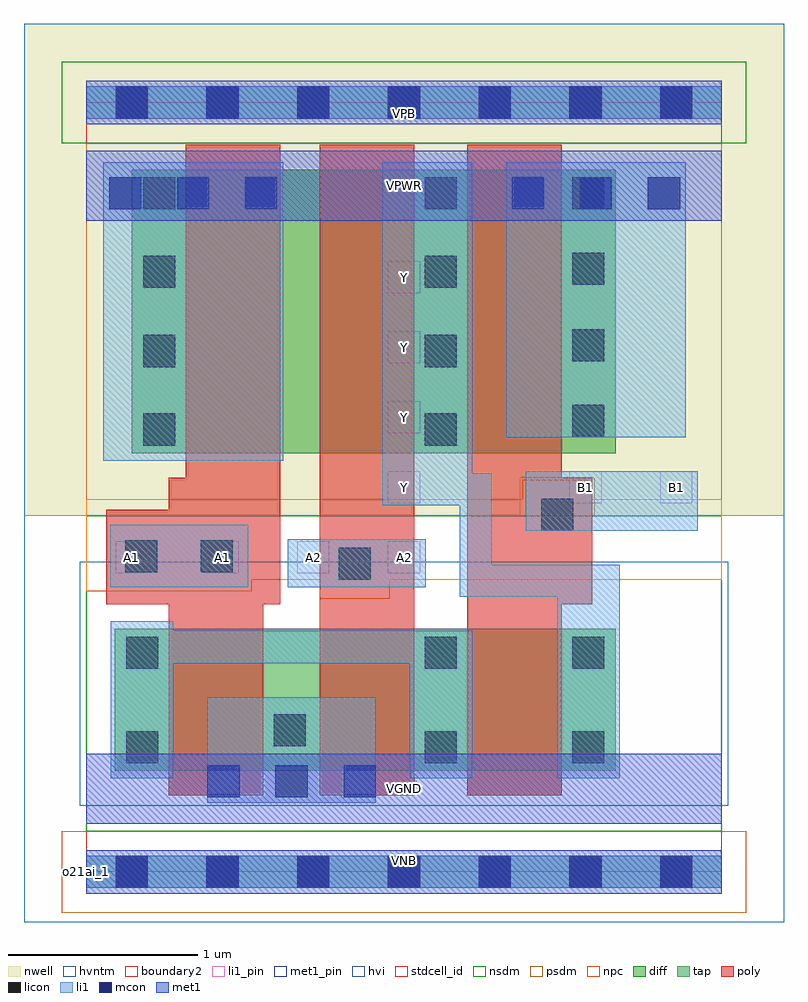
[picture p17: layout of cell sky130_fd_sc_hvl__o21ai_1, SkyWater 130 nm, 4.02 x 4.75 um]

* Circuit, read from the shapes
.subckt sky130_fd_sc_hvl__o21ai_1 A1 A2 B1 VGND VNB VPB VPWR Y
XM1 VGND A1 n1 VNB sky130_fd_pr__nfet_g5v0d10v5 w=0.75 l=0.5
XM2 n1 A2 VGND VNB sky130_fd_pr__nfet_g5v0d10v5 w=0.75 l=0.5
XM3 Y B1 n1 VNB sky130_fd_pr__nfet_g5v0d10v5 w=0.75 l=0.5
XM4 n2 A1 VPWR VPB sky130_fd_pr__pfet_g5v0d10v5 w=1.5 l=0.5
XM5 Y A2 n2 VPB sky130_fd_pr__pfet_g5v0d10v5 w=1.5 l=0.5
XM6 VPWR B1 Y VPB sky130_fd_pr__pfet_g5v0d10v5 w=1.5 l=0.5
.ends

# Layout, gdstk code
import gdstk
lib = gdstk.Library(unit=1e-6, precision=1e-09)
def R(c, l, rs):  # rectangles x0, y0, x1, y1
    for r in rs: c.add(gdstk.rectangle(r[:2], r[2:], *l))
def A(c, l, x, y, w, h, nx, ny, dx, dy):  # array of equal rectangles
    R(c, l, [(x+i*dx, y+j*dy, x+i*dx+w, y+j*dy+h) for i in range(nx) for j in range(ny)])
def P(c, l, *ps):  # polygons
    for p in ps: c.add(gdstk.Polygon(p, *l))
nwell = (64, 20)
diff = (65, 20)
tap = (65, 44)
poly = (66, 20)
licon = (66, 44)
li1_pin = (67, 16)
li1 = (67, 20)
mcon = (67, 44)
met1_pin = (68, 16)
met1 = (68, 20)
hvi = (75, 20)
stdcell_id = (81, 4)
nsdm = (93, 44)
psdm = (94, 20)
npc = (95, 20)
hvntm = (125, 20)
boundary2 = (236, 0)

sky130_fd_sc_hvl__o21ai_ = lib.new_cell('sky130_fd_sc_hvl__o21ai_1')
R(sky130_fd_sc_hvl__o21ai_, nwell, [(-0.33,1.885,3.69,4.485)])
R(sky130_fd_sc_hvl__o21ai_, diff, [(0.15,0.535,2.8,1.285), (0.24,2.215,2.8,3.715)])
R(sky130_fd_sc_hvl__o21ai_, tap, [(0,-0.085,3.36,0.085), (0,3.985,3.36,4.155)])
R(sky130_fd_sc_hvl__o21ai_, poly, [(1.235,0.405,1.735,3.845)])
P(sky130_fd_sc_hvl__o21ai_, poly, [(1.025,3.845),(0.525,3.845),(0.525,2.085),(0.435,2.085),(0.435,1.915),(0.105,1.915),(0.105,1.415),(0.435,1.415),(0.435,0.405),(0.935,0.405),(0.935,1.415),(1.025,1.415)],
  [(2.675,2.085),(2.515,2.085),(2.515,3.845),(2.015,3.845),(2.015,0.405),(2.515,0.405),(2.515,1.415),(2.675,1.415)])
A(sky130_fd_sc_hvl__o21ai_, licon, 0.155, -0.085, 0.17, 0.17, 7, 2, 0.48, 4.07)
R(sky130_fd_sc_hvl__o21ai_, licon, [(0.21,0.575,0.38,0.745), (1.79,0.575,1.96,0.745), (2.57,0.575,2.74,0.745), (0.99,0.665,1.16,0.835), (0.21,1.075,0.38,1.245), (1.79,1.075,1.96,1.245), (2.57,1.075,2.74,1.245), (1.335,1.545,1.505,1.715), (0.205,1.585,0.375,1.755), (0.605,1.585,0.775,1.755), (2.405,1.805,2.575,1.975), (0.3,2.255,0.47,2.425), (1.79,2.255,1.96,2.425), (2.57,2.3,2.74,2.47), (0.3,2.67,0.47,2.84), (1.79,2.67,1.96,2.84), (2.57,2.7,2.74,2.87), (0.3,3.09,0.47,3.26), (1.79,3.09,1.96,3.26), (2.57,3.105,2.74,3.275), (0.3,3.505,0.47,3.675), (1.79,3.505,1.96,3.675), (2.57,3.505,2.74,3.675)])
A(sky130_fd_sc_hvl__o21ai_, li1_pin, 0.155, 1.58, 0.17, 0.17, 4, 1, 0.48, 0)
A(sky130_fd_sc_hvl__o21ai_, li1_pin, 1.595, 1.95, 0.17, 0.17, 1, 4, 0, 0.37)
R(sky130_fd_sc_hvl__o21ai_, li1_pin, [(2.555,1.95,2.725,2.12), (3.035,1.95,3.205,2.12)])
R(sky130_fd_sc_hvl__o21ai_, li1, [(0,-0.085,3.36,0.085), (0.64,0.365,1.53,0.925), (0.125,1.505,0.855,1.835), (1.065,1.505,1.795,1.76), (2.325,1.805,3.235,2.12), (0.09,2.175,1.04,3.755), (2.22,2.3,3.17,3.755), (0,3.985,3.36,4.155)])
P(sky130_fd_sc_hvl__o21ai_, li1, [(2.04,1.275),(0.46,1.275),(0.46,1.325),(0.13,1.325),(0.13,0.495),(0.46,0.495),(0.46,1.105),(1.71,1.105),(1.71,0.495),(2.04,0.495)],
  [(2.82,1.625),(2.145,1.625),(2.145,2.11),(2.04,2.11),(2.04,3.755),(1.565,3.755),(1.565,1.94),(1.975,1.94),(1.975,1.455),(2.49,1.455),(2.49,0.495),(2.82,0.495)])
A(sky130_fd_sc_hvl__o21ai_, mcon, 0.64, 0.395, 0.17, 0.17, 3, 1, 0.36, 0)
A(sky130_fd_sc_hvl__o21ai_, mcon, 0.12, 3.505, 0.17, 0.17, 3, 1, 0.36, 0)
A(sky130_fd_sc_hvl__o21ai_, mcon, 2.25, 3.505, 0.17, 0.17, 3, 1, 0.36, 0)
R(sky130_fd_sc_hvl__o21ai_, mcon, [(0.155,-0.085,0.325,0.085), (0.155,-0.085,0.325,0.085), (0.635,-0.085,0.805,0.085), (0.635,-0.085,0.805,0.085), (1.115,-0.085,1.285,0.085), (1.115,-0.085,1.285,0.085), (1.595,-0.085,1.765,0.085), (1.595,-0.085,1.765,0.085), (2.075,-0.085,2.245,0.085), (2.075,-0.085,2.245,0.085), (2.555,-0.085,2.725,0.085), (2.555,-0.085,2.725,0.085), (3.035,-0.085,3.205,0.085), (3.035,-0.085,3.205,0.085), (0.155,3.985,0.325,4.155), (0.155,3.985,0.325,4.155), (0.635,3.985,0.805,4.155), (0.635,3.985,0.805,4.155), (1.115,3.985,1.285,4.155), (1.115,3.985,1.285,4.155), (1.595,3.985,1.765,4.155), (1.595,3.985,1.765,4.155), (2.075,3.985,2.245,4.155), (2.075,3.985,2.245,4.155), (2.555,3.985,2.725,4.155), (2.555,3.985,2.725,4.155), (3.035,3.985,3.205,4.155), (3.035,3.985,3.205,4.155)])
R(sky130_fd_sc_hvl__o21ai_, met1_pin, [(0,0,3.36,0.115), (0,0.255,3.36,0.625), (0,3.445,3.36,3.815), (0,3.955,3.36,4.07)])
R(sky130_fd_sc_hvl__o21ai_, met1, [(0,-0.115,3.36,0.115), (0,0.255,3.36,0.625), (0,3.445,3.36,3.815), (0,3.955,3.36,4.185)])
R(sky130_fd_sc_hvl__o21ai_, hvi, [(-0.33,-0.265,3.69,4.485)])
R(sky130_fd_sc_hvl__o21ai_, stdcell_id, [(0,0,3.36,4.07)])
R(sky130_fd_sc_hvl__o21ai_, nsdm, [(0,0.215,3.36,1.885), (-0.13,3.855,3.49,4.285), (0,3.855,3.36,4.07)])
R(sky130_fd_sc_hvl__o21ai_, psdm, [(-0.13,-0.215,3.49,0.215)])
P(sky130_fd_sc_hvl__o21ai_, psdm, [(3.36,3.855),(0,3.855),(0,1.885),(2.295,1.885),(2.295,2.085),(2.685,2.085),(2.685,1.885),(3.36,1.885)])
P(sky130_fd_sc_hvl__o21ai_, npc, [(3.36,1.97),(2.675,1.97),(2.675,2.075),(2.305,2.075),(2.305,1.97),(0,1.97),(0,1.485),(0.875,1.485),(0.875,1.545),(1.235,1.545),(1.235,1.445),(1.605,1.445),(1.605,1.545),(3.36,1.545)])
R(sky130_fd_sc_hvl__o21ai_, hvntm, [(-0.035,0.35,3.395,1.64)])
R(sky130_fd_sc_hvl__o21ai_, boundary2, [(0,0,3.36,4.07)])
sky130_fd_sc_hvl__o21ai_.add(gdstk.Label('o21ai_1', (0,0), layer=83, texttype=44))
sky130_fd_sc_hvl__o21ai_.add(gdstk.Label('VGND', (1.68,0.44), layer=68, texttype=5))
sky130_fd_sc_hvl__o21ai_.add(gdstk.Label('VNB', (1.68,0.058), layer=68, texttype=5))
sky130_fd_sc_hvl__o21ai_.add(gdstk.Label('VPWR', (1.68,3.63), layer=68, texttype=5))
sky130_fd_sc_hvl__o21ai_.add(gdstk.Label('VPB', (1.68,4.013), layer=68, texttype=5))
sky130_fd_sc_hvl__o21ai_.add(gdstk.Label('A1', (0.24,1.665), layer=67, texttype=5))
sky130_fd_sc_hvl__o21ai_.add(gdstk.Label('A1', (0.72,1.665), layer=67, texttype=5))
sky130_fd_sc_hvl__o21ai_.add(gdstk.Label('A2', (1.2,1.665), layer=67, texttype=5))
sky130_fd_sc_hvl__o21ai_.add(gdstk.Label('A2', (1.68,1.665), layer=67, texttype=5))
sky130_fd_sc_hvl__o21ai_.add(gdstk.Label('B1', (2.64,2.035), layer=67, texttype=5))
sky130_fd_sc_hvl__o21ai_.add(gdstk.Label('B1', (3.12,2.035), layer=67, texttype=5))
sky130_fd_sc_hvl__o21ai_.add(gdstk.Label('Y', (1.68,2.035), layer=67, texttype=5))
sky130_fd_sc_hvl__o21ai_.add(gdstk.Label('Y', (1.68,2.405), layer=67, texttype=5))
sky130_fd_sc_hvl__o21ai_.add(gdstk.Label('Y', (1.68,2.775), layer=67, texttype=5))
sky130_fd_sc_hvl__o21ai_.add(gdstk.Label('Y', (1.68,3.145), layer=67, texttype=5))

lib.write_gds('sky130_fd_sc_hvl__o21ai_1.gds')
